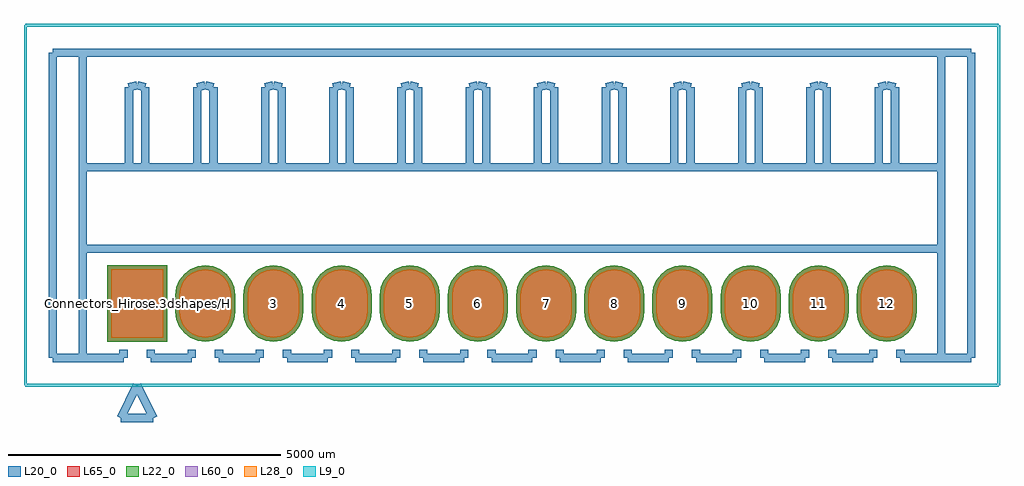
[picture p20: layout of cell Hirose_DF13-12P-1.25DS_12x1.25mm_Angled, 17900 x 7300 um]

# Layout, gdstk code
import gdstk
lib = gdstk.Library(unit=1e-6, precision=1e-09)
def R(c, l, rs):  # rectangles x0, y0, x1, y1
    for r in rs: c.add(gdstk.rectangle(r[:2], r[2:], *l))
def P(c, l, *ps):  # polygons
    for p in ps: c.add(gdstk.Polygon(p, *l))
L9_0 = (9, 0)
L20_0 = (20, 0)
L22_0 = (22, 0)
L28_0 = (28, 0)
L60_0 = (60, 0)
L65_0 = (65, 0)

hirose_df13_12p_1_25ds_1 = lib.new_cell('Hirose_DF13-12P-1.25DS_12x1.25mm_Angled')
R(hirose_df13_12p_1_25ds_1, L22_0, [(-550,-700,550,700)])
P(hirose_df13_12p_1_25ds_1, L22_0, [(13750,-700),(13892.35,-681.259),(14025,-626.314),(14138.909,-538.909),(14226.314,-425),(14281.259,-292.35),(14300,-150),(14300,150),(14281.259,292.35),(14226.314,425),(14138.909,538.909),(14025,626.314),(13892.35,681.259),(13750,700),(13607.65,681.259),(13475,626.314),(13361.091,538.909),(13273.686,425),(13218.741,292.35),(13200,150),(13200,-150),(13218.741,-292.35),(13273.686,-425),(13361.091,-538.909),(13475,-626.314),(13607.65,-681.259)],
  [(12500,-700),(12642.35,-681.259),(12775,-626.314),(12888.909,-538.909),(12976.314,-425),(13031.259,-292.35),(13050,-150),(13050,150),(13031.259,292.35),(12976.314,425),(12888.909,538.909),(12775,626.314),(12642.35,681.259),(12500,700),(12357.65,681.259),(12225,626.314),(12111.091,538.909),(12023.686,425),(11968.741,292.35),(11950,150),(11950,-150),(11968.741,-292.35),(12023.686,-425),(12111.091,-538.909),(12225,-626.314),(12357.65,-681.259)],
  [(11250,-700),(11392.35,-681.259),(11525,-626.314),(11638.909,-538.909),(11726.314,-425),(11781.259,-292.35),(11800,-150),(11800,150),(11781.259,292.35),(11726.314,425),(11638.909,538.909),(11525,626.314),(11392.35,681.259),(11250,700),(11107.65,681.259),(10975,626.314),(10861.091,538.909),(10773.686,425),(10718.741,292.35),(10700,150),(10700,-150),(10718.741,-292.35),(10773.686,-425),(10861.091,-538.909),(10975,-626.314),(11107.65,-681.259)],
  [(10000,-700),(10142.35,-681.259),(10275,-626.314),(10388.909,-538.909),(10476.314,-425),(10531.259,-292.35),(10550,-150),(10550,150),(10531.259,292.35),(10476.314,425),(10388.909,538.909),(10275,626.314),(10142.35,681.259),(10000,700),(9857.65,681.259),(9725,626.314),(9611.091,538.909),(9523.686,425),(9468.741,292.35),(9450,150),(9450,-150),(9468.741,-292.35),(9523.686,-425),(9611.091,-538.909),(9725,-626.314),(9857.65,-681.259)],
  [(8750,-700),(8892.35,-681.259),(9025,-626.314),(9138.909,-538.909),(9226.314,-425),(9281.259,-292.35),(9300,-150),(9300,150),(9281.259,292.35),(9226.314,425),(9138.909,538.909),(9025,626.314),(8892.35,681.259),(8750,700),(8607.65,681.259),(8475,626.314),(8361.091,538.909),(8273.686,425),(8218.741,292.35),(8200,150),(8200,-150),(8218.741,-292.35),(8273.686,-425),(8361.091,-538.909),(8475,-626.314),(8607.65,-681.259)],
  [(7500,-700),(7642.35,-681.259),(7775,-626.314),(7888.909,-538.909),(7976.314,-425),(8031.259,-292.35),(8050,-150),(8050,150),(8031.259,292.35),(7976.314,425),(7888.909,538.909),(7775,626.314),(7642.35,681.259),(7500,700),(7357.65,681.259),(7225,626.314),(7111.091,538.909),(7023.686,425),(6968.741,292.35),(6950,150),(6950,-150),(6968.741,-292.35),(7023.686,-425),(7111.091,-538.909),(7225,-626.314),(7357.65,-681.259)],
  [(6250,-700),(6392.35,-681.259),(6525,-626.314),(6638.909,-538.909),(6726.314,-425),(6781.259,-292.35),(6800,-150),(6800,150),(6781.259,292.35),(6726.314,425),(6638.909,538.909),(6525,626.314),(6392.35,681.259),(6250,700),(6107.65,681.259),(5975,626.314),(5861.091,538.909),(5773.686,425),(5718.741,292.35),(5700,150),(5700,-150),(5718.741,-292.35),(5773.686,-425),(5861.091,-538.909),(5975,-626.314),(6107.65,-681.259)],
  [(5000,-700),(5142.35,-681.259),(5275,-626.314),(5388.909,-538.909),(5476.314,-425),(5531.259,-292.35),(5550,-150),(5550,150),(5531.259,292.35),(5476.314,425),(5388.909,538.909),(5275,626.314),(5142.35,681.259),(5000,700),(4857.65,681.259),(4725,626.314),(4611.091,538.909),(4523.686,425),(4468.741,292.35),(4450,150),(4450,-150),(4468.741,-292.35),(4523.686,-425),(4611.091,-538.909),(4725,-626.314),(4857.65,-681.259)],
  [(3750,-700),(3892.35,-681.259),(4025,-626.314),(4138.909,-538.909),(4226.314,-425),(4281.259,-292.35),(4300,-150),(4300,150),(4281.259,292.35),(4226.314,425),(4138.909,538.909),(4025,626.314),(3892.35,681.259),(3750,700),(3607.65,681.259),(3475,626.314),(3361.091,538.909),(3273.686,425),(3218.741,292.35),(3200,150),(3200,-150),(3218.741,-292.35),(3273.686,-425),(3361.091,-538.909),(3475,-626.314),(3607.65,-681.259)],
  [(2500,-700),(2642.35,-681.259),(2775,-626.314),(2888.909,-538.909),(2976.314,-425),(3031.259,-292.35),(3050,-150),(3050,150),(3031.259,292.35),(2976.314,425),(2888.909,538.909),(2775,626.314),(2642.35,681.259),(2500,700),(2357.65,681.259),(2225,626.314),(2111.091,538.909),(2023.686,425),(1968.741,292.35),(1950,150),(1950,-150),(1968.741,-292.35),(2023.686,-425),(2111.091,-538.909),(2225,-626.314),(2357.65,-681.259)],
  [(1250,-700),(1392.35,-681.259),(1525,-626.314),(1638.909,-538.909),(1726.314,-425),(1781.259,-292.35),(1800,-150),(1800,150),(1781.259,292.35),(1726.314,425),(1638.909,538.909),(1525,626.314),(1392.35,681.259),(1250,700),(1107.65,681.259),(975,626.314),(861.091,538.909),(773.686,425),(718.741,292.35),(700,150),(700,-150),(718.741,-292.35),(773.686,-425),(861.091,-538.909),(975,-626.314),(1107.65,-681.259)])
R(hirose_df13_12p_1_25ds_1, L28_0, [(-475,-625,475,625)])
P(hirose_df13_12p_1_25ds_1, L28_0, [(13750,-625),(13872.939,-608.815),(13987.5,-561.362),(14085.876,-485.876),(14161.362,-387.5),(14208.815,-272.939),(14225,-150),(14225,150),(14208.815,272.939),(14161.362,387.5),(14085.876,485.876),(13987.5,561.362),(13872.939,608.815),(13750,625),(13627.061,608.815),(13512.5,561.362),(13414.124,485.876),(13338.638,387.5),(13291.185,272.939),(13275,150),(13275,-150),(13291.185,-272.939),(13338.638,-387.5),(13414.124,-485.876),(13512.5,-561.362),(13627.061,-608.815)],
  [(12500,-625),(12622.939,-608.815),(12737.5,-561.362),(12835.876,-485.876),(12911.362,-387.5),(12958.815,-272.939),(12975,-150),(12975,150),(12958.815,272.939),(12911.362,387.5),(12835.876,485.876),(12737.5,561.362),(12622.939,608.815),(12500,625),(12377.061,608.815),(12262.5,561.362),(12164.124,485.876),(12088.638,387.5),(12041.185,272.939),(12025,150),(12025,-150),(12041.185,-272.939),(12088.638,-387.5),(12164.124,-485.876),(12262.5,-561.362),(12377.061,-608.815)],
  [(11250,-625),(11372.939,-608.815),(11487.5,-561.362),(11585.876,-485.876),(11661.362,-387.5),(11708.815,-272.939),(11725,-150),(11725,150),(11708.815,272.939),(11661.362,387.5),(11585.876,485.876),(11487.5,561.362),(11372.939,608.815),(11250,625),(11127.061,608.815),(11012.5,561.362),(10914.124,485.876),(10838.638,387.5),(10791.185,272.939),(10775,150),(10775,-150),(10791.185,-272.939),(10838.638,-387.5),(10914.124,-485.876),(11012.5,-561.362),(11127.061,-608.815)],
  [(10000,-625),(10122.939,-608.815),(10237.5,-561.362),(10335.876,-485.876),(10411.362,-387.5),(10458.815,-272.939),(10475,-150),(10475,150),(10458.815,272.939),(10411.362,387.5),(10335.876,485.876),(10237.5,561.362),(10122.939,608.815),(10000,625),(9877.061,608.815),(9762.5,561.362),(9664.124,485.876),(9588.638,387.5),(9541.185,272.939),(9525,150),(9525,-150),(9541.185,-272.939),(9588.638,-387.5),(9664.124,-485.876),(9762.5,-561.362),(9877.061,-608.815)],
  [(8750,-625),(8872.939,-608.815),(8987.5,-561.362),(9085.876,-485.876),(9161.362,-387.5),(9208.815,-272.939),(9225,-150),(9225,150),(9208.815,272.939),(9161.362,387.5),(9085.876,485.876),(8987.5,561.362),(8872.939,608.815),(8750,625),(8627.061,608.815),(8512.5,561.362),(8414.124,485.876),(8338.638,387.5),(8291.185,272.939),(8275,150),(8275,-150),(8291.185,-272.939),(8338.638,-387.5),(8414.124,-485.876),(8512.5,-561.362),(8627.061,-608.815)],
  [(7500,-625),(7622.939,-608.815),(7737.5,-561.362),(7835.876,-485.876),(7911.362,-387.5),(7958.815,-272.939),(7975,-150),(7975,150),(7958.815,272.939),(7911.362,387.5),(7835.876,485.876),(7737.5,561.362),(7622.939,608.815),(7500,625),(7377.061,608.815),(7262.5,561.362),(7164.124,485.876),(7088.638,387.5),(7041.185,272.939),(7025,150),(7025,-150),(7041.185,-272.939),(7088.638,-387.5),(7164.124,-485.876),(7262.5,-561.362),(7377.061,-608.815)],
  [(6250,-625),(6372.939,-608.815),(6487.5,-561.362),(6585.876,-485.876),(6661.362,-387.5),(6708.815,-272.939),(6725,-150),(6725,150),(6708.815,272.939),(6661.362,387.5),(6585.876,485.876),(6487.5,561.362),(6372.939,608.815),(6250,625),(6127.061,608.815),(6012.5,561.362),(5914.124,485.876),(5838.638,387.5),(5791.185,272.939),(5775,150),(5775,-150),(5791.185,-272.939),(5838.638,-387.5),(5914.124,-485.876),(6012.5,-561.362),(6127.061,-608.815)],
  [(5000,-625),(5122.939,-608.815),(5237.5,-561.362),(5335.876,-485.876),(5411.362,-387.5),(5458.815,-272.939),(5475,-150),(5475,150),(5458.815,272.939),(5411.362,387.5),(5335.876,485.876),(5237.5,561.362),(5122.939,608.815),(5000,625),(4877.061,608.815),(4762.5,561.362),(4664.124,485.876),(4588.638,387.5),(4541.185,272.939),(4525,150),(4525,-150),(4541.185,-272.939),(4588.638,-387.5),(4664.124,-485.876),(4762.5,-561.362),(4877.061,-608.815)],
  [(3750,-625),(3872.939,-608.815),(3987.5,-561.362),(4085.876,-485.876),(4161.362,-387.5),(4208.815,-272.939),(4225,-150),(4225,150),(4208.815,272.939),(4161.362,387.5),(4085.876,485.876),(3987.5,561.362),(3872.939,608.815),(3750,625),(3627.061,608.815),(3512.5,561.362),(3414.124,485.876),(3338.638,387.5),(3291.185,272.939),(3275,150),(3275,-150),(3291.185,-272.939),(3338.638,-387.5),(3414.124,-485.876),(3512.5,-561.362),(3627.061,-608.815)],
  [(2500,-625),(2622.939,-608.815),(2737.5,-561.362),(2835.876,-485.876),(2911.362,-387.5),(2958.815,-272.939),(2975,-150),(2975,150),(2958.815,272.939),(2911.362,387.5),(2835.876,485.876),(2737.5,561.362),(2622.939,608.815),(2500,625),(2377.061,608.815),(2262.5,561.362),(2164.124,485.876),(2088.638,387.5),(2041.185,272.939),(2025,150),(2025,-150),(2041.185,-272.939),(2088.638,-387.5),(2164.124,-485.876),(2262.5,-561.362),(2377.061,-608.815)],
  [(1250,-625),(1372.939,-608.815),(1487.5,-561.362),(1585.876,-485.876),(1661.362,-387.5),(1708.815,-272.939),(1725,-150),(1725,150),(1708.815,272.939),(1661.362,387.5),(1585.876,485.876),(1487.5,561.362),(1372.939,608.815),(1250,625),(1127.061,608.815),(1012.5,561.362),(914.124,485.876),(838.638,387.5),(791.185,272.939),(775,150),(775,-150),(791.185,-272.939),(838.638,-387.5),(914.124,-485.876),(1012.5,-561.362),(1127.061,-608.815)])
R(hirose_df13_12p_1_25ds_1, L60_0, [(-475,-625,475,625)])
P(hirose_df13_12p_1_25ds_1, L60_0, [(13750,-625),(13872.939,-608.815),(13987.5,-561.362),(14085.876,-485.876),(14161.362,-387.5),(14208.815,-272.939),(14225,-150),(14225,150),(14208.815,272.939),(14161.362,387.5),(14085.876,485.876),(13987.5,561.362),(13872.939,608.815),(13750,625),(13627.061,608.815),(13512.5,561.362),(13414.124,485.876),(13338.638,387.5),(13291.185,272.939),(13275,150),(13275,-150),(13291.185,-272.939),(13338.638,-387.5),(13414.124,-485.876),(13512.5,-561.362),(13627.061,-608.815)],
  [(12500,-625),(12622.939,-608.815),(12737.5,-561.362),(12835.876,-485.876),(12911.362,-387.5),(12958.815,-272.939),(12975,-150),(12975,150),(12958.815,272.939),(12911.362,387.5),(12835.876,485.876),(12737.5,561.362),(12622.939,608.815),(12500,625),(12377.061,608.815),(12262.5,561.362),(12164.124,485.876),(12088.638,387.5),(12041.185,272.939),(12025,150),(12025,-150),(12041.185,-272.939),(12088.638,-387.5),(12164.124,-485.876),(12262.5,-561.362),(12377.061,-608.815)],
  [(11250,-625),(11372.939,-608.815),(11487.5,-561.362),(11585.876,-485.876),(11661.362,-387.5),(11708.815,-272.939),(11725,-150),(11725,150),(11708.815,272.939),(11661.362,387.5),(11585.876,485.876),(11487.5,561.362),(11372.939,608.815),(11250,625),(11127.061,608.815),(11012.5,561.362),(10914.124,485.876),(10838.638,387.5),(10791.185,272.939),(10775,150),(10775,-150),(10791.185,-272.939),(10838.638,-387.5),(10914.124,-485.876),(11012.5,-561.362),(11127.061,-608.815)],
  [(10000,-625),(10122.939,-608.815),(10237.5,-561.362),(10335.876,-485.876),(10411.362,-387.5),(10458.815,-272.939),(10475,-150),(10475,150),(10458.815,272.939),(10411.362,387.5),(10335.876,485.876),(10237.5,561.362),(10122.939,608.815),(10000,625),(9877.061,608.815),(9762.5,561.362),(9664.124,485.876),(9588.638,387.5),(9541.185,272.939),(9525,150),(9525,-150),(9541.185,-272.939),(9588.638,-387.5),(9664.124,-485.876),(9762.5,-561.362),(9877.061,-608.815)],
  [(8750,-625),(8872.939,-608.815),(8987.5,-561.362),(9085.876,-485.876),(9161.362,-387.5),(9208.815,-272.939),(9225,-150),(9225,150),(9208.815,272.939),(9161.362,387.5),(9085.876,485.876),(8987.5,561.362),(8872.939,608.815),(8750,625),(8627.061,608.815),(8512.5,561.362),(8414.124,485.876),(8338.638,387.5),(8291.185,272.939),(8275,150),(8275,-150),(8291.185,-272.939),(8338.638,-387.5),(8414.124,-485.876),(8512.5,-561.362),(8627.061,-608.815)],
  [(7500,-625),(7622.939,-608.815),(7737.5,-561.362),(7835.876,-485.876),(7911.362,-387.5),(7958.815,-272.939),(7975,-150),(7975,150),(7958.815,272.939),(7911.362,387.5),(7835.876,485.876),(7737.5,561.362),(7622.939,608.815),(7500,625),(7377.061,608.815),(7262.5,561.362),(7164.124,485.876),(7088.638,387.5),(7041.185,272.939),(7025,150),(7025,-150),(7041.185,-272.939),(7088.638,-387.5),(7164.124,-485.876),(7262.5,-561.362),(7377.061,-608.815)],
  [(6250,-625),(6372.939,-608.815),(6487.5,-561.362),(6585.876,-485.876),(6661.362,-387.5),(6708.815,-272.939),(6725,-150),(6725,150),(6708.815,272.939),(6661.362,387.5),(6585.876,485.876),(6487.5,561.362),(6372.939,608.815),(6250,625),(6127.061,608.815),(6012.5,561.362),(5914.124,485.876),(5838.638,387.5),(5791.185,272.939),(5775,150),(5775,-150),(5791.185,-272.939),(5838.638,-387.5),(5914.124,-485.876),(6012.5,-561.362),(6127.061,-608.815)],
  [(5000,-625),(5122.939,-608.815),(5237.5,-561.362),(5335.876,-485.876),(5411.362,-387.5),(5458.815,-272.939),(5475,-150),(5475,150),(5458.815,272.939),(5411.362,387.5),(5335.876,485.876),(5237.5,561.362),(5122.939,608.815),(5000,625),(4877.061,608.815),(4762.5,561.362),(4664.124,485.876),(4588.638,387.5),(4541.185,272.939),(4525,150),(4525,-150),(4541.185,-272.939),(4588.638,-387.5),(4664.124,-485.876),(4762.5,-561.362),(4877.061,-608.815)],
  [(3750,-625),(3872.939,-608.815),(3987.5,-561.362),(4085.876,-485.876),(4161.362,-387.5),(4208.815,-272.939),(4225,-150),(4225,150),(4208.815,272.939),(4161.362,387.5),(4085.876,485.876),(3987.5,561.362),(3872.939,608.815),(3750,625),(3627.061,608.815),(3512.5,561.362),(3414.124,485.876),(3338.638,387.5),(3291.185,272.939),(3275,150),(3275,-150),(3291.185,-272.939),(3338.638,-387.5),(3414.124,-485.876),(3512.5,-561.362),(3627.061,-608.815)],
  [(2500,-625),(2622.939,-608.815),(2737.5,-561.362),(2835.876,-485.876),(2911.362,-387.5),(2958.815,-272.939),(2975,-150),(2975,150),(2958.815,272.939),(2911.362,387.5),(2835.876,485.876),(2737.5,561.362),(2622.939,608.815),(2500,625),(2377.061,608.815),(2262.5,561.362),(2164.124,485.876),(2088.638,387.5),(2041.185,272.939),(2025,150),(2025,-150),(2041.185,-272.939),(2088.638,-387.5),(2164.124,-485.876),(2262.5,-561.362),(2377.061,-608.815)],
  [(1250,-625),(1372.939,-608.815),(1487.5,-561.362),(1585.876,-485.876),(1661.362,-387.5),(1708.815,-272.939),(1725,-150),(1725,150),(1708.815,272.939),(1661.362,387.5),(1585.876,485.876),(1487.5,561.362),(1372.939,608.815),(1250,625),(1127.061,608.815),(1012.5,561.362),(914.124,485.876),(838.638,387.5),(791.185,272.939),(775,150),(775,-150),(791.185,-272.939),(838.638,-387.5),(914.124,-485.876),(1012.5,-561.362),(1127.061,-608.815)])
R(hirose_df13_12p_1_25ds_1, L65_0, [(-550,-700,550,700)])
P(hirose_df13_12p_1_25ds_1, L65_0, [(13750,-700),(13892.35,-681.259),(14025,-626.314),(14138.909,-538.909),(14226.314,-425),(14281.259,-292.35),(14300,-150),(14300,150),(14281.259,292.35),(14226.314,425),(14138.909,538.909),(14025,626.314),(13892.35,681.259),(13750,700),(13607.65,681.259),(13475,626.314),(13361.091,538.909),(13273.686,425),(13218.741,292.35),(13200,150),(13200,-150),(13218.741,-292.35),(13273.686,-425),(13361.091,-538.909),(13475,-626.314),(13607.65,-681.259)],
  [(12500,-700),(12642.35,-681.259),(12775,-626.314),(12888.909,-538.909),(12976.314,-425),(13031.259,-292.35),(13050,-150),(13050,150),(13031.259,292.35),(12976.314,425),(12888.909,538.909),(12775,626.314),(12642.35,681.259),(12500,700),(12357.65,681.259),(12225,626.314),(12111.091,538.909),(12023.686,425),(11968.741,292.35),(11950,150),(11950,-150),(11968.741,-292.35),(12023.686,-425),(12111.091,-538.909),(12225,-626.314),(12357.65,-681.259)],
  [(11250,-700),(11392.35,-681.259),(11525,-626.314),(11638.909,-538.909),(11726.314,-425),(11781.259,-292.35),(11800,-150),(11800,150),(11781.259,292.35),(11726.314,425),(11638.909,538.909),(11525,626.314),(11392.35,681.259),(11250,700),(11107.65,681.259),(10975,626.314),(10861.091,538.909),(10773.686,425),(10718.741,292.35),(10700,150),(10700,-150),(10718.741,-292.35),(10773.686,-425),(10861.091,-538.909),(10975,-626.314),(11107.65,-681.259)],
  [(10000,-700),(10142.35,-681.259),(10275,-626.314),(10388.909,-538.909),(10476.314,-425),(10531.259,-292.35),(10550,-150),(10550,150),(10531.259,292.35),(10476.314,425),(10388.909,538.909),(10275,626.314),(10142.35,681.259),(10000,700),(9857.65,681.259),(9725,626.314),(9611.091,538.909),(9523.686,425),(9468.741,292.35),(9450,150),(9450,-150),(9468.741,-292.35),(9523.686,-425),(9611.091,-538.909),(9725,-626.314),(9857.65,-681.259)],
  [(8750,-700),(8892.35,-681.259),(9025,-626.314),(9138.909,-538.909),(9226.314,-425),(9281.259,-292.35),(9300,-150),(9300,150),(9281.259,292.35),(9226.314,425),(9138.909,538.909),(9025,626.314),(8892.35,681.259),(8750,700),(8607.65,681.259),(8475,626.314),(8361.091,538.909),(8273.686,425),(8218.741,292.35),(8200,150),(8200,-150),(8218.741,-292.35),(8273.686,-425),(8361.091,-538.909),(8475,-626.314),(8607.65,-681.259)],
  [(7500,-700),(7642.35,-681.259),(7775,-626.314),(7888.909,-538.909),(7976.314,-425),(8031.259,-292.35),(8050,-150),(8050,150),(8031.259,292.35),(7976.314,425),(7888.909,538.909),(7775,626.314),(7642.35,681.259),(7500,700),(7357.65,681.259),(7225,626.314),(7111.091,538.909),(7023.686,425),(6968.741,292.35),(6950,150),(6950,-150),(6968.741,-292.35),(7023.686,-425),(7111.091,-538.909),(7225,-626.314),(7357.65,-681.259)],
  [(6250,-700),(6392.35,-681.259),(6525,-626.314),(6638.909,-538.909),(6726.314,-425),(6781.259,-292.35),(6800,-150),(6800,150),(6781.259,292.35),(6726.314,425),(6638.909,538.909),(6525,626.314),(6392.35,681.259),(6250,700),(6107.65,681.259),(5975,626.314),(5861.091,538.909),(5773.686,425),(5718.741,292.35),(5700,150),(5700,-150),(5718.741,-292.35),(5773.686,-425),(5861.091,-538.909),(5975,-626.314),(6107.65,-681.259)],
  [(5000,-700),(5142.35,-681.259),(5275,-626.314),(5388.909,-538.909),(5476.314,-425),(5531.259,-292.35),(5550,-150),(5550,150),(5531.259,292.35),(5476.314,425),(5388.909,538.909),(5275,626.314),(5142.35,681.259),(5000,700),(4857.65,681.259),(4725,626.314),(4611.091,538.909),(4523.686,425),(4468.741,292.35),(4450,150),(4450,-150),(4468.741,-292.35),(4523.686,-425),(4611.091,-538.909),(4725,-626.314),(4857.65,-681.259)],
  [(3750,-700),(3892.35,-681.259),(4025,-626.314),(4138.909,-538.909),(4226.314,-425),(4281.259,-292.35),(4300,-150),(4300,150),(4281.259,292.35),(4226.314,425),(4138.909,538.909),(4025,626.314),(3892.35,681.259),(3750,700),(3607.65,681.259),(3475,626.314),(3361.091,538.909),(3273.686,425),(3218.741,292.35),(3200,150),(3200,-150),(3218.741,-292.35),(3273.686,-425),(3361.091,-538.909),(3475,-626.314),(3607.65,-681.259)],
  [(2500,-700),(2642.35,-681.259),(2775,-626.314),(2888.909,-538.909),(2976.314,-425),(3031.259,-292.35),(3050,-150),(3050,150),(3031.259,292.35),(2976.314,425),(2888.909,538.909),(2775,626.314),(2642.35,681.259),(2500,700),(2357.65,681.259),(2225,626.314),(2111.091,538.909),(2023.686,425),(1968.741,292.35),(1950,150),(1950,-150),(1968.741,-292.35),(2023.686,-425),(2111.091,-538.909),(2225,-626.314),(2357.65,-681.259)],
  [(1250,-700),(1392.35,-681.259),(1525,-626.314),(1638.909,-538.909),(1726.314,-425),(1781.259,-292.35),(1800,-150),(1800,150),(1781.259,292.35),(1726.314,425),(1638.909,538.909),(1525,626.314),(1392.35,681.259),(1250,700),(1107.65,681.259),(975,626.314),(861.091,538.909),(773.686,425),(718.741,292.35),(700,150),(700,-150),(718.741,-292.35),(773.686,-425),(861.091,-538.909),(975,-626.314),(1107.65,-681.259)])
hirose_df13_12p_1_25ds_1.add(gdstk.FlexPath([(15800,5100),(-2050,5100)], 50, ends="flush", simple_path=True, layer=9, datatype=0))  # L9_0
hirose_df13_12p_1_25ds_1.add(gdstk.FlexPath([(15800,-1500),(15800,5100)], 50, ends="flush", simple_path=True, layer=9, datatype=0))  # L9_0
hirose_df13_12p_1_25ds_1.add(gdstk.FlexPath([(-2050,-1500),(15800,-1500)], 50, ends="flush", simple_path=True, layer=9, datatype=0))  # L9_0
hirose_df13_12p_1_25ds_1.add(gdstk.FlexPath([(-2050,5100),(-2050,-1500)], 50, ends="flush", simple_path=True, layer=9, datatype=0))  # L9_0
hirose_df13_12p_1_25ds_1.add(gdstk.FlexPath([(300,-2100),(0,-1500)], 149.998, ends="flush", simple_path=True, layer=20, datatype=0))  # L20_0
hirose_df13_12p_1_25ds_1.add(gdstk.FlexPath([(-300,-2100),(300,-2100)], 149.998, ends="flush", simple_path=True, layer=20, datatype=0))  # L20_0
hirose_df13_12p_1_25ds_1.add(gdstk.FlexPath([(0,-1500),(-300,-2100)], 149.998, ends="flush", simple_path=True, layer=20, datatype=0))  # L20_0
hirose_df13_12p_1_25ds_1.add(gdstk.FlexPath([(13500,-1000),(13500,-850)], 149.998, ends="flush", simple_path=True, layer=20, datatype=0))  # L20_0
hirose_df13_12p_1_25ds_1.add(gdstk.FlexPath([(12750,-1000),(13500,-1000)], 149.998, ends="flush", simple_path=True, layer=20, datatype=0))  # L20_0
hirose_df13_12p_1_25ds_1.add(gdstk.FlexPath([(12750,-850),(12750,-1000)], 149.998, ends="flush", simple_path=True, layer=20, datatype=0))  # L20_0
hirose_df13_12p_1_25ds_1.add(gdstk.FlexPath([(13900,2500),(13750,2500)], 149.998, ends="flush", simple_path=True, layer=20, datatype=0))  # L20_0
hirose_df13_12p_1_25ds_1.add(gdstk.FlexPath([(13900,3962.5),(13900,2500)], 149.998, ends="flush", simple_path=True, layer=20, datatype=0))  # L20_0
hirose_df13_12p_1_25ds_1.add(gdstk.FlexPath([(13750,4000),(13900,3962.5)], 149.998, ends="flush", simple_path=True, layer=20, datatype=0))  # L20_0
hirose_df13_12p_1_25ds_1.add(gdstk.FlexPath([(13600,3962.5),(13750,4000)], 149.998, ends="flush", simple_path=True, layer=20, datatype=0))  # L20_0
hirose_df13_12p_1_25ds_1.add(gdstk.FlexPath([(13600,2500),(13600,3962.5)], 149.998, ends="flush", simple_path=True, layer=20, datatype=0))  # L20_0
hirose_df13_12p_1_25ds_1.add(gdstk.FlexPath([(13750,2500),(13600,2500)], 149.998, ends="flush", simple_path=True, layer=20, datatype=0))  # L20_0
hirose_df13_12p_1_25ds_1.add(gdstk.FlexPath([(12250,-1000),(12250,-850)], 149.998, ends="flush", simple_path=True, layer=20, datatype=0))  # L20_0
hirose_df13_12p_1_25ds_1.add(gdstk.FlexPath([(11500,-1000),(12250,-1000)], 149.998, ends="flush", simple_path=True, layer=20, datatype=0))  # L20_0
hirose_df13_12p_1_25ds_1.add(gdstk.FlexPath([(11500,-850),(11500,-1000)], 149.998, ends="flush", simple_path=True, layer=20, datatype=0))  # L20_0
hirose_df13_12p_1_25ds_1.add(gdstk.FlexPath([(12650,2500),(12500,2500)], 149.998, ends="flush", simple_path=True, layer=20, datatype=0))  # L20_0
hirose_df13_12p_1_25ds_1.add(gdstk.FlexPath([(12650,3962.5),(12650,2500)], 149.998, ends="flush", simple_path=True, layer=20, datatype=0))  # L20_0
hirose_df13_12p_1_25ds_1.add(gdstk.FlexPath([(12500,4000),(12650,3962.5)], 149.998, ends="flush", simple_path=True, layer=20, datatype=0))  # L20_0
hirose_df13_12p_1_25ds_1.add(gdstk.FlexPath([(12350,3962.5),(12500,4000)], 149.998, ends="flush", simple_path=True, layer=20, datatype=0))  # L20_0
hirose_df13_12p_1_25ds_1.add(gdstk.FlexPath([(12350,2500),(12350,3962.5)], 149.998, ends="flush", simple_path=True, layer=20, datatype=0))  # L20_0
hirose_df13_12p_1_25ds_1.add(gdstk.FlexPath([(12500,2500),(12350,2500)], 149.998, ends="flush", simple_path=True, layer=20, datatype=0))  # L20_0
hirose_df13_12p_1_25ds_1.add(gdstk.FlexPath([(11000,-1000),(11000,-850)], 149.998, ends="flush", simple_path=True, layer=20, datatype=0))  # L20_0
hirose_df13_12p_1_25ds_1.add(gdstk.FlexPath([(10250,-1000),(11000,-1000)], 149.998, ends="flush", simple_path=True, layer=20, datatype=0))  # L20_0
hirose_df13_12p_1_25ds_1.add(gdstk.FlexPath([(10250,-850),(10250,-1000)], 149.998, ends="flush", simple_path=True, layer=20, datatype=0))  # L20_0
hirose_df13_12p_1_25ds_1.add(gdstk.FlexPath([(11400,2500),(11250,2500)], 149.998, ends="flush", simple_path=True, layer=20, datatype=0))  # L20_0
hirose_df13_12p_1_25ds_1.add(gdstk.FlexPath([(11400,3962.5),(11400,2500)], 149.998, ends="flush", simple_path=True, layer=20, datatype=0))  # L20_0
hirose_df13_12p_1_25ds_1.add(gdstk.FlexPath([(11250,4000),(11400,3962.5)], 149.998, ends="flush", simple_path=True, layer=20, datatype=0))  # L20_0
hirose_df13_12p_1_25ds_1.add(gdstk.FlexPath([(11100,3962.5),(11250,4000)], 149.998, ends="flush", simple_path=True, layer=20, datatype=0))  # L20_0
hirose_df13_12p_1_25ds_1.add(gdstk.FlexPath([(11100,2500),(11100,3962.5)], 149.998, ends="flush", simple_path=True, layer=20, datatype=0))  # L20_0
hirose_df13_12p_1_25ds_1.add(gdstk.FlexPath([(11250,2500),(11100,2500)], 149.998, ends="flush", simple_path=True, layer=20, datatype=0))  # L20_0
hirose_df13_12p_1_25ds_1.add(gdstk.FlexPath([(9750,-1000),(9750,-850)], 149.998, ends="flush", simple_path=True, layer=20, datatype=0))  # L20_0
hirose_df13_12p_1_25ds_1.add(gdstk.FlexPath([(9000,-1000),(9750,-1000)], 149.998, ends="flush", simple_path=True, layer=20, datatype=0))  # L20_0
hirose_df13_12p_1_25ds_1.add(gdstk.FlexPath([(9000,-850),(9000,-1000)], 149.998, ends="flush", simple_path=True, layer=20, datatype=0))  # L20_0
hirose_df13_12p_1_25ds_1.add(gdstk.FlexPath([(10150,2500),(10000,2500)], 149.998, ends="flush", simple_path=True, layer=20, datatype=0))  # L20_0
hirose_df13_12p_1_25ds_1.add(gdstk.FlexPath([(10150,3962.5),(10150,2500)], 149.998, ends="flush", simple_path=True, layer=20, datatype=0))  # L20_0
hirose_df13_12p_1_25ds_1.add(gdstk.FlexPath([(10000,4000),(10150,3962.5)], 149.998, ends="flush", simple_path=True, layer=20, datatype=0))  # L20_0
hirose_df13_12p_1_25ds_1.add(gdstk.FlexPath([(9850,3962.5),(10000,4000)], 149.998, ends="flush", simple_path=True, layer=20, datatype=0))  # L20_0
hirose_df13_12p_1_25ds_1.add(gdstk.FlexPath([(9850,2500),(9850,3962.5)], 149.998, ends="flush", simple_path=True, layer=20, datatype=0))  # L20_0
hirose_df13_12p_1_25ds_1.add(gdstk.FlexPath([(10000,2500),(9850,2500)], 149.998, ends="flush", simple_path=True, layer=20, datatype=0))  # L20_0
hirose_df13_12p_1_25ds_1.add(gdstk.FlexPath([(8500,-1000),(8500,-850)], 149.998, ends="flush", simple_path=True, layer=20, datatype=0))  # L20_0
hirose_df13_12p_1_25ds_1.add(gdstk.FlexPath([(7750,-1000),(8500,-1000)], 149.998, ends="flush", simple_path=True, layer=20, datatype=0))  # L20_0
hirose_df13_12p_1_25ds_1.add(gdstk.FlexPath([(7750,-850),(7750,-1000)], 149.998, ends="flush", simple_path=True, layer=20, datatype=0))  # L20_0
hirose_df13_12p_1_25ds_1.add(gdstk.FlexPath([(8900,2500),(8750,2500)], 149.998, ends="flush", simple_path=True, layer=20, datatype=0))  # L20_0
hirose_df13_12p_1_25ds_1.add(gdstk.FlexPath([(8900,3962.5),(8900,2500)], 149.998, ends="flush", simple_path=True, layer=20, datatype=0))  # L20_0
hirose_df13_12p_1_25ds_1.add(gdstk.FlexPath([(8750,4000),(8900,3962.5)], 149.998, ends="flush", simple_path=True, layer=20, datatype=0))  # L20_0
hirose_df13_12p_1_25ds_1.add(gdstk.FlexPath([(8600,3962.5),(8750,4000)], 149.998, ends="flush", simple_path=True, layer=20, datatype=0))  # L20_0
hirose_df13_12p_1_25ds_1.add(gdstk.FlexPath([(8600,2500),(8600,3962.5)], 149.998, ends="flush", simple_path=True, layer=20, datatype=0))  # L20_0
hirose_df13_12p_1_25ds_1.add(gdstk.FlexPath([(8750,2500),(8600,2500)], 149.998, ends="flush", simple_path=True, layer=20, datatype=0))  # L20_0
hirose_df13_12p_1_25ds_1.add(gdstk.FlexPath([(7250,-1000),(7250,-850)], 149.998, ends="flush", simple_path=True, layer=20, datatype=0))  # L20_0
hirose_df13_12p_1_25ds_1.add(gdstk.FlexPath([(6500,-1000),(7250,-1000)], 149.998, ends="flush", simple_path=True, layer=20, datatype=0))  # L20_0
hirose_df13_12p_1_25ds_1.add(gdstk.FlexPath([(6500,-850),(6500,-1000)], 149.998, ends="flush", simple_path=True, layer=20, datatype=0))  # L20_0
hirose_df13_12p_1_25ds_1.add(gdstk.FlexPath([(7650,2500),(7500,2500)], 149.998, ends="flush", simple_path=True, layer=20, datatype=0))  # L20_0
hirose_df13_12p_1_25ds_1.add(gdstk.FlexPath([(7650,3962.5),(7650,2500)], 149.998, ends="flush", simple_path=True, layer=20, datatype=0))  # L20_0
hirose_df13_12p_1_25ds_1.add(gdstk.FlexPath([(7500,4000),(7650,3962.5)], 149.998, ends="flush", simple_path=True, layer=20, datatype=0))  # L20_0
hirose_df13_12p_1_25ds_1.add(gdstk.FlexPath([(7350,3962.5),(7500,4000)], 149.998, ends="flush", simple_path=True, layer=20, datatype=0))  # L20_0
hirose_df13_12p_1_25ds_1.add(gdstk.FlexPath([(7350,2500),(7350,3962.5)], 149.998, ends="flush", simple_path=True, layer=20, datatype=0))  # L20_0
hirose_df13_12p_1_25ds_1.add(gdstk.FlexPath([(7500,2500),(7350,2500)], 149.998, ends="flush", simple_path=True, layer=20, datatype=0))  # L20_0
hirose_df13_12p_1_25ds_1.add(gdstk.FlexPath([(6000,-1000),(6000,-850)], 149.998, ends="flush", simple_path=True, layer=20, datatype=0))  # L20_0
hirose_df13_12p_1_25ds_1.add(gdstk.FlexPath([(5250,-1000),(6000,-1000)], 149.998, ends="flush", simple_path=True, layer=20, datatype=0))  # L20_0
hirose_df13_12p_1_25ds_1.add(gdstk.FlexPath([(5250,-850),(5250,-1000)], 149.998, ends="flush", simple_path=True, layer=20, datatype=0))  # L20_0
hirose_df13_12p_1_25ds_1.add(gdstk.FlexPath([(6400,2500),(6250,2500)], 149.998, ends="flush", simple_path=True, layer=20, datatype=0))  # L20_0
hirose_df13_12p_1_25ds_1.add(gdstk.FlexPath([(6400,3962.5),(6400,2500)], 149.998, ends="flush", simple_path=True, layer=20, datatype=0))  # L20_0
hirose_df13_12p_1_25ds_1.add(gdstk.FlexPath([(6250,4000),(6400,3962.5)], 149.998, ends="flush", simple_path=True, layer=20, datatype=0))  # L20_0
hirose_df13_12p_1_25ds_1.add(gdstk.FlexPath([(6100,3962.5),(6250,4000)], 149.998, ends="flush", simple_path=True, layer=20, datatype=0))  # L20_0
hirose_df13_12p_1_25ds_1.add(gdstk.FlexPath([(6100,2500),(6100,3962.5)], 149.998, ends="flush", simple_path=True, layer=20, datatype=0))  # L20_0
hirose_df13_12p_1_25ds_1.add(gdstk.FlexPath([(6250,2500),(6100,2500)], 149.998, ends="flush", simple_path=True, layer=20, datatype=0))  # L20_0
hirose_df13_12p_1_25ds_1.add(gdstk.FlexPath([(4750,-1000),(4750,-850)], 149.998, ends="flush", simple_path=True, layer=20, datatype=0))  # L20_0
hirose_df13_12p_1_25ds_1.add(gdstk.FlexPath([(4000,-1000),(4750,-1000)], 149.998, ends="flush", simple_path=True, layer=20, datatype=0))  # L20_0
hirose_df13_12p_1_25ds_1.add(gdstk.FlexPath([(4000,-850),(4000,-1000)], 149.998, ends="flush", simple_path=True, layer=20, datatype=0))  # L20_0
hirose_df13_12p_1_25ds_1.add(gdstk.FlexPath([(5150,2500),(5000,2500)], 149.998, ends="flush", simple_path=True, layer=20, datatype=0))  # L20_0
hirose_df13_12p_1_25ds_1.add(gdstk.FlexPath([(5150,3962.5),(5150,2500)], 149.998, ends="flush", simple_path=True, layer=20, datatype=0))  # L20_0
hirose_df13_12p_1_25ds_1.add(gdstk.FlexPath([(5000,4000),(5150,3962.5)], 149.998, ends="flush", simple_path=True, layer=20, datatype=0))  # L20_0
hirose_df13_12p_1_25ds_1.add(gdstk.FlexPath([(4850,3962.5),(5000,4000)], 149.998, ends="flush", simple_path=True, layer=20, datatype=0))  # L20_0
hirose_df13_12p_1_25ds_1.add(gdstk.FlexPath([(4850,2500),(4850,3962.5)], 149.998, ends="flush", simple_path=True, layer=20, datatype=0))  # L20_0
hirose_df13_12p_1_25ds_1.add(gdstk.FlexPath([(5000,2500),(4850,2500)], 149.998, ends="flush", simple_path=True, layer=20, datatype=0))  # L20_0
hirose_df13_12p_1_25ds_1.add(gdstk.FlexPath([(3500,-1000),(3500,-850)], 149.998, ends="flush", simple_path=True, layer=20, datatype=0))  # L20_0
hirose_df13_12p_1_25ds_1.add(gdstk.FlexPath([(2750,-1000),(3500,-1000)], 149.998, ends="flush", simple_path=True, layer=20, datatype=0))  # L20_0
hirose_df13_12p_1_25ds_1.add(gdstk.FlexPath([(2750,-850),(2750,-1000)], 149.998, ends="flush", simple_path=True, layer=20, datatype=0))  # L20_0
hirose_df13_12p_1_25ds_1.add(gdstk.FlexPath([(3900,2500),(3750,2500)], 149.998, ends="flush", simple_path=True, layer=20, datatype=0))  # L20_0
hirose_df13_12p_1_25ds_1.add(gdstk.FlexPath([(3900,3962.5),(3900,2500)], 149.998, ends="flush", simple_path=True, layer=20, datatype=0))  # L20_0
hirose_df13_12p_1_25ds_1.add(gdstk.FlexPath([(3750,4000),(3900,3962.5)], 149.998, ends="flush", simple_path=True, layer=20, datatype=0))  # L20_0
hirose_df13_12p_1_25ds_1.add(gdstk.FlexPath([(3600,3962.5),(3750,4000)], 149.998, ends="flush", simple_path=True, layer=20, datatype=0))  # L20_0
hirose_df13_12p_1_25ds_1.add(gdstk.FlexPath([(3600,2500),(3600,3962.5)], 149.998, ends="flush", simple_path=True, layer=20, datatype=0))  # L20_0
hirose_df13_12p_1_25ds_1.add(gdstk.FlexPath([(3750,2500),(3600,2500)], 149.998, ends="flush", simple_path=True, layer=20, datatype=0))  # L20_0
hirose_df13_12p_1_25ds_1.add(gdstk.FlexPath([(2250,-1000),(2250,-850)], 149.998, ends="flush", simple_path=True, layer=20, datatype=0))  # L20_0
hirose_df13_12p_1_25ds_1.add(gdstk.FlexPath([(1500,-1000),(2250,-1000)], 149.998, ends="flush", simple_path=True, layer=20, datatype=0))  # L20_0
hirose_df13_12p_1_25ds_1.add(gdstk.FlexPath([(1500,-850),(1500,-1000)], 149.998, ends="flush", simple_path=True, layer=20, datatype=0))  # L20_0
hirose_df13_12p_1_25ds_1.add(gdstk.FlexPath([(2650,2500),(2500,2500)], 149.998, ends="flush", simple_path=True, layer=20, datatype=0))  # L20_0
hirose_df13_12p_1_25ds_1.add(gdstk.FlexPath([(2650,3962.5),(2650,2500)], 149.998, ends="flush", simple_path=True, layer=20, datatype=0))  # L20_0
hirose_df13_12p_1_25ds_1.add(gdstk.FlexPath([(2500,4000),(2650,3962.5)], 149.998, ends="flush", simple_path=True, layer=20, datatype=0))  # L20_0
hirose_df13_12p_1_25ds_1.add(gdstk.FlexPath([(2350,3962.5),(2500,4000)], 149.998, ends="flush", simple_path=True, layer=20, datatype=0))  # L20_0
hirose_df13_12p_1_25ds_1.add(gdstk.FlexPath([(2350,2500),(2350,3962.5)], 149.998, ends="flush", simple_path=True, layer=20, datatype=0))  # L20_0
hirose_df13_12p_1_25ds_1.add(gdstk.FlexPath([(2500,2500),(2350,2500)], 149.998, ends="flush", simple_path=True, layer=20, datatype=0))  # L20_0
hirose_df13_12p_1_25ds_1.add(gdstk.FlexPath([(1000,-1000),(1000,-850)], 149.998, ends="flush", simple_path=True, layer=20, datatype=0))  # L20_0
hirose_df13_12p_1_25ds_1.add(gdstk.FlexPath([(250,-1000),(1000,-1000)], 149.998, ends="flush", simple_path=True, layer=20, datatype=0))  # L20_0
hirose_df13_12p_1_25ds_1.add(gdstk.FlexPath([(250,-850),(250,-1000)], 149.998, ends="flush", simple_path=True, layer=20, datatype=0))  # L20_0
hirose_df13_12p_1_25ds_1.add(gdstk.FlexPath([(1400,2500),(1250,2500)], 149.998, ends="flush", simple_path=True, layer=20, datatype=0))  # L20_0
hirose_df13_12p_1_25ds_1.add(gdstk.FlexPath([(1400,3962.5),(1400,2500)], 149.998, ends="flush", simple_path=True, layer=20, datatype=0))  # L20_0
hirose_df13_12p_1_25ds_1.add(gdstk.FlexPath([(1250,4000),(1400,3962.5)], 149.998, ends="flush", simple_path=True, layer=20, datatype=0))  # L20_0
hirose_df13_12p_1_25ds_1.add(gdstk.FlexPath([(1100,3962.5),(1250,4000)], 149.998, ends="flush", simple_path=True, layer=20, datatype=0))  # L20_0
hirose_df13_12p_1_25ds_1.add(gdstk.FlexPath([(1100,2500),(1100,3962.5)], 149.998, ends="flush", simple_path=True, layer=20, datatype=0))  # L20_0
hirose_df13_12p_1_25ds_1.add(gdstk.FlexPath([(1250,2500),(1100,2500)], 149.998, ends="flush", simple_path=True, layer=20, datatype=0))  # L20_0
hirose_df13_12p_1_25ds_1.add(gdstk.FlexPath([(150,2500),(0,2500)], 149.998, ends="flush", simple_path=True, layer=20, datatype=0))  # L20_0
hirose_df13_12p_1_25ds_1.add(gdstk.FlexPath([(150,3962.5),(150,2500)], 149.998, ends="flush", simple_path=True, layer=20, datatype=0))  # L20_0
hirose_df13_12p_1_25ds_1.add(gdstk.FlexPath([(0,4000),(150,3962.5)], 149.998, ends="flush", simple_path=True, layer=20, datatype=0))  # L20_0
hirose_df13_12p_1_25ds_1.add(gdstk.FlexPath([(-150,3962.5),(0,4000)], 149.998, ends="flush", simple_path=True, layer=20, datatype=0))  # L20_0
hirose_df13_12p_1_25ds_1.add(gdstk.FlexPath([(-150,2500),(-150,3962.5)], 149.998, ends="flush", simple_path=True, layer=20, datatype=0))  # L20_0
hirose_df13_12p_1_25ds_1.add(gdstk.FlexPath([(0,2500),(-150,2500)], 149.998, ends="flush", simple_path=True, layer=20, datatype=0))  # L20_0
hirose_df13_12p_1_25ds_1.add(gdstk.FlexPath([(14750,4600),(14750,-1000)], 149.998, ends="flush", simple_path=True, layer=20, datatype=0))  # L20_0
hirose_df13_12p_1_25ds_1.add(gdstk.FlexPath([(-1000,4600),(-1000,-1000)], 149.998, ends="flush", simple_path=True, layer=20, datatype=0))  # L20_0
hirose_df13_12p_1_25ds_1.add(gdstk.FlexPath([(-1000,1000),(14750,1000)], 149.998, ends="flush", simple_path=True, layer=20, datatype=0))  # L20_0
hirose_df13_12p_1_25ds_1.add(gdstk.FlexPath([(-1000,2500),(14750,2500)], 149.998, ends="flush", simple_path=True, layer=20, datatype=0))  # L20_0
hirose_df13_12p_1_25ds_1.add(gdstk.FlexPath([(14000,-1000),(14000,-850)], 149.998, ends="flush", simple_path=True, layer=20, datatype=0))  # L20_0
hirose_df13_12p_1_25ds_1.add(gdstk.FlexPath([(15300,-1000),(14000,-1000)], 149.998, ends="flush", simple_path=True, layer=20, datatype=0))  # L20_0
hirose_df13_12p_1_25ds_1.add(gdstk.FlexPath([(15300,4600),(15300,-1000)], 149.998, ends="flush", simple_path=True, layer=20, datatype=0))  # L20_0
hirose_df13_12p_1_25ds_1.add(gdstk.FlexPath([(-1550,4600),(15300,4600)], 149.998, ends="flush", simple_path=True, layer=20, datatype=0))  # L20_0
hirose_df13_12p_1_25ds_1.add(gdstk.FlexPath([(-1550,-1000),(-1550,4600)], 149.998, ends="flush", simple_path=True, layer=20, datatype=0))  # L20_0
hirose_df13_12p_1_25ds_1.add(gdstk.FlexPath([(-250,-1000),(-1550,-1000)], 149.998, ends="flush", simple_path=True, layer=20, datatype=0))  # L20_0
hirose_df13_12p_1_25ds_1.add(gdstk.FlexPath([(-250,-850),(-250,-1000)], 149.998, ends="flush", simple_path=True, layer=20, datatype=0))  # L20_0
hirose_df13_12p_1_25ds_1.add(gdstk.Label('Connectors_Hirose.3dshapes/Hirose_DF13-12P-1.25DS_12x1.25mm_Angled.wrl', (0,0), layer=12, texttype=0))
hirose_df13_12p_1_25ds_1.add(gdstk.Label('12', (13750,0), layer=28, texttype=0))
hirose_df13_12p_1_25ds_1.add(gdstk.Label('11', (12500,0), layer=28, texttype=0))
hirose_df13_12p_1_25ds_1.add(gdstk.Label('10', (11250,0), layer=28, texttype=0))
hirose_df13_12p_1_25ds_1.add(gdstk.Label('9', (10000,0), layer=28, texttype=0))
hirose_df13_12p_1_25ds_1.add(gdstk.Label('8', (8750,0), layer=28, texttype=0))
hirose_df13_12p_1_25ds_1.add(gdstk.Label('7', (7500,0), layer=28, texttype=0))
hirose_df13_12p_1_25ds_1.add(gdstk.Label('6', (6250,0), layer=28, texttype=0))
hirose_df13_12p_1_25ds_1.add(gdstk.Label('5', (5000,0), layer=28, texttype=0))
hirose_df13_12p_1_25ds_1.add(gdstk.Label('4', (3750,0), layer=28, texttype=0))
hirose_df13_12p_1_25ds_1.add(gdstk.Label('3', (2500,0), layer=28, texttype=0))
hirose_df13_12p_1_25ds_1.add(gdstk.Label('2', (1250,0), layer=28, texttype=0))
hirose_df13_12p_1_25ds_1.add(gdstk.Label('1', (0,0), layer=28, texttype=0))
hirose_df13_12p_1_25ds_1.add(gdstk.Label('type', (6875,6000), layer=9, texttype=0))
hirose_df13_12p_1_25ds_1.add(gdstk.Label('devicename', (6875,-3000), layer=9, texttype=0))

lib.write_gds('Hirose_DF13-12P-1.25DS_12x1.25mm_Angled.gds')
